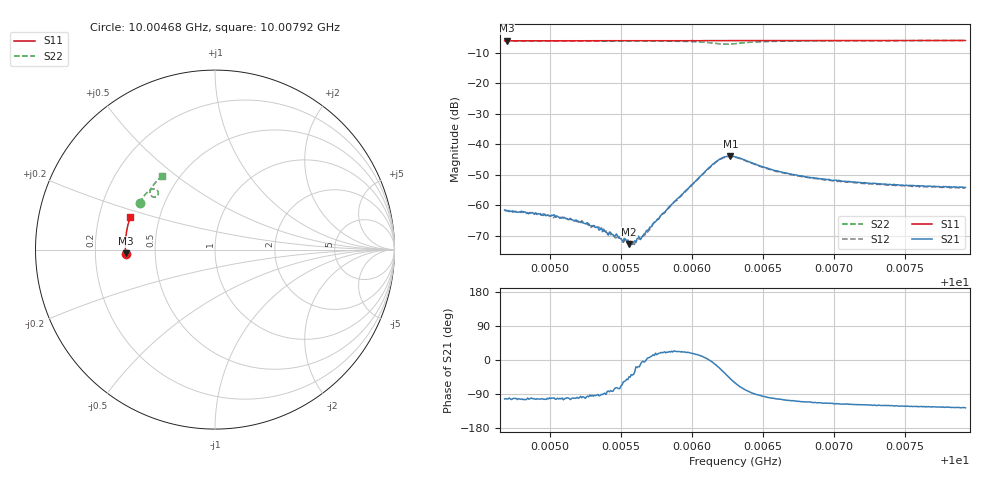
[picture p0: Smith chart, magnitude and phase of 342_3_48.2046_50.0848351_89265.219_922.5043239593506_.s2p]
#  HZ  S  RI  R  50.00
! Rohde & Schwarz Vector Network Analyzer
! Rohde-Schwarz,ZNB20-2Port,1311601062101988,3.16
! Created: UTC 3/20/2024, 11:51:21 AM
! freq[Hz]  re:S11  im:S11  re:S21  im:S21  re:S12  im:S12  re:S22  im:S22
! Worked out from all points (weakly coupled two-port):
!   401 points, 10.00468 GHz to 10.00792 GHz, reference 50 ohm
!   highest |S21| = -43.92 dB at 10.00627 GHz (marker M1); lowest = -72.8 dB at 10.00556 GHz (marker M2)
!   lowest |S11| = -6.0 dB at 10.0047 GHz (marker M3), VSWR 2.99, Z = 16.7 - j0.966 ohm
!   |S11| at or under -10 dB: nowhere
!   |S22| runs from -7.1 to -6.0 dB; largest |S21 - S12| = 0.00034
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1.0004679e10  -0.4986 -0.0229  -0.000186 -0.00081  -0.000144 -0.000802  -0.4199 0.2588
1.0004696e10  -0.4985 -0.0217  -0.000179 -0.000782  -0.000129 -0.000799  -0.4193 0.2598
1.0004963e10  -0.4996 -0.00453  -0.000163 -0.000689  -0.000108 -0.000687  -0.4102 0.2756
1.0005028e10  -0.4998 -0.0002  -0.000124 -0.000683  -8.94e-05 -0.000628  -0.4079 0.2797
1.0005223e10  -0.4999 0.0123  -8.63e-05 -0.00051  -5.05e-05 -0.000555  -0.4002 0.2912
1.0005304e10  -0.5 0.0175  -4.55e-05 -0.000459  -3.32e-05 -0.000453  -0.3968 0.2961
1.0005328e10  -0.4999 0.0192  -2.2e-05 -0.000434  9.53e-06 -0.000432  -0.3958 0.2975
1.0005523e10  -0.4999 0.0318  0.000159 -0.000244  0.000165 -0.000211  -0.3867 0.3094
1.0005556e10  -0.4997 0.0339  0.000164 -0.000159  0.000191 -0.000143  -0.385 0.3114
1.0005588e10  -0.4995 0.036  0.000194 -0.000151  0.00017 -0.000125  -0.3832 0.3135
1.0005604e10  -0.4993 0.0371  0.000232 -7.56e-05  0.000232 -9.16e-05  -0.3824 0.3145
1.0005653e10  -0.4994 0.0404  0.000313 -1.77e-05  0.000302 -1.19e-05  -0.3796 0.3175
1.0005766e10  -0.4989 0.0477  0.000571 0.000185  0.000559 0.000203  -0.3721 0.3247
1.0005864e10  -0.4985 0.0539  0.001 0.000388  0.000947 0.00044  -0.364 0.3308
1.0006148e10  -0.4964 0.0722  0.00467 -0.000587  0.00461 -0.000343  -0.3198 0.3273
1.0006213e10  -0.4956 0.076  0.00527 -0.00283  0.00528 -0.00252  -0.3166 0.3076
1.0006269e10  -0.4953 0.0796  0.00413 -0.00484  0.0043 -0.00454  -0.3295 0.2937
1.0006302e10  -0.4952 0.0815  0.00305 -0.00541  0.00322 -0.00518  -0.3396 0.2923
1.0006578e10  -0.4929 0.0992  -0.000733 -0.00364  -0.000548 -0.00361  -0.3602 0.3307
1.0006845e10  -0.4898 0.1162  -0.00106 -0.00262  -0.000893 -0.00262  -0.3485 0.3537
1.0007389e10  -0.4815 0.1503  -0.00111 -0.00188  -0.00099 -0.00189  -0.3217 0.3843
1.0007924e10  -0.471 0.1832  -0.00115 -0.00158  -0.00104 -0.0016  -0.2945 0.4085
